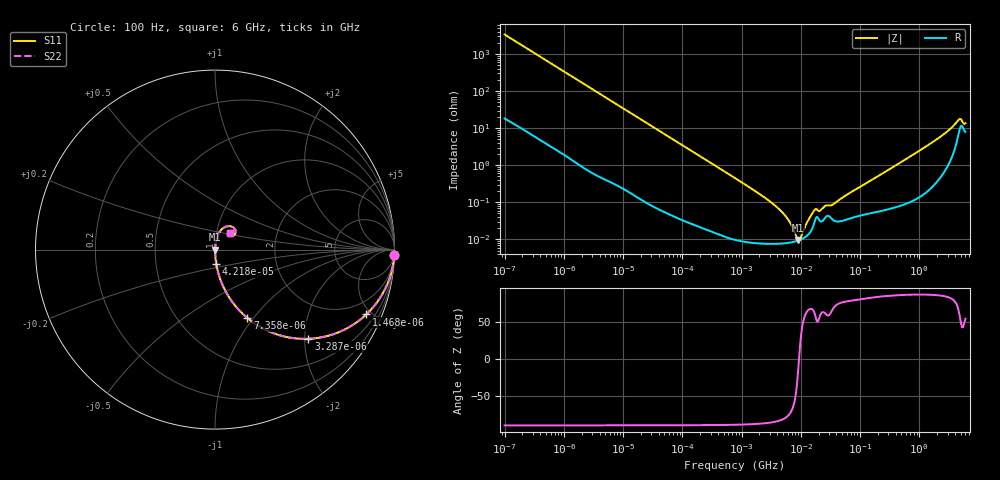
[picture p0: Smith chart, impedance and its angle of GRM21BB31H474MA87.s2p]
!Murata Part Number: GRM21BB31H474MA87
!These Parameters are Measured in Series Mode Connection
!Data Generated on Mar 30, 2021
!  o--ll--o
!Port1  Port2
!  o------o
!Operation Temp=25[degC], DC Bias Voltage=0[V]
!Freq. Start=100[Hz] Stop=6[GHz] 401[Steps]
# Hz S RI R 50
!Freq.(Hz) S11(Real) S11(Imag) S21(Real) S21(Imag) S12(Real) S12(Imag) S22(Real) S22(Imag)
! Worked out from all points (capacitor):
!   401 points, 100 Hz to 6 GHz, reference 50 ohm
!   read as one part in series: C = 469 nF near 109 Hz
!   lowest |Z| = 9.55 mohm at 9.09 MHz (marker M1)
!   series resonance near 9.331 MHz, so ESL is about 620 pH
!   S11 on the Smith chart (normalised r, x): 100 Hz: 1, -68; 1.468 kHz: 1.03, -4.66; 3.287 kHz: 1.01, -2.09; 7.358 kHz: 1.01, -0.93; 42.18 kHz: 1.00, -0.16; 6 GHz: 1.16, +0.22
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100  0.999 -0.0295  0.00103 0.0295  0.00103 0.0295  0.999 -0.0295
438  0.983 -0.1265  0.017 0.1265  0.017 0.1265  0.983 -0.1265
1468  0.843 -0.3611  0.157 0.3611  0.157 0.3611  0.843 -0.3611
2008  0.7427 -0.4345  0.2573 0.4345  0.2573 0.4345  0.7427 -0.4345
3287  0.5208 -0.4968  0.4792 0.4968  0.4792 0.4968  0.5208 -0.4968
7358  0.1807 -0.3815  0.8193 0.3815  0.8193 0.3815  0.1807 -0.3815
14402  0.0556 -0.2257  0.9444 0.2257  0.9444 0.2257  0.0556 -0.2257
40335  0.00793 -0.0851  0.9921 0.0851  0.9921 0.0851  0.00793 -0.0851
42182  0.00729 -0.0814  0.9927 0.0814  0.9927 0.0814  0.00729 -0.0814
774597  0.000117 -0.00451  0.9999 0.00451  0.9999 0.00451  0.000117 -0.00451
4246196  7.65e-05 -0.000662  0.9999 0.000662  0.9999 0.000662  7.65e-05 -0.000662
6075234  8.04e-05 -0.000338  0.9999 0.000338  0.9999 0.000338  8.04e-05 -0.000338
9090158  9.33e-05 -2.02e-05  0.9999 2.02e-05  0.9999 2.02e-05  9.33e-05 -2.02e-05
9941735  9.86e-05 4.98e-05  0.9999 -4.98e-05  0.9999 -4.98e-05  9.86e-05 4.98e-05
1.555665e7  0.000194 0.000458  0.9998 -0.000458  0.9998 -0.000458  0.000194 0.000458
1.779312e7  0.000362 0.00055  0.9996 -0.00055  0.9996 -0.00055  0.000362 0.00055
2.128304e7  0.000307 0.000513  0.9997 -0.000513  0.9997 -0.000513  0.000307 0.000513
3.482834e7  0.000336 0.000805  0.9997 -0.000805  0.9997 -0.000805  0.000336 0.000805
3.124326e8  0.000718 0.00773  0.9993 -0.00773  0.9993 -0.00773  0.000718 0.00773
1.95892e9  0.0059 0.0493  0.9941 -0.0493  0.9941 -0.0493  0.0059 0.0493
4.586474e9  0.0821 0.1313  0.9179 -0.1313  0.9179 -0.1313  0.0821 0.1313
6e9  0.0832 0.0938  0.9168 -0.0938  0.9168 -0.0938  0.0832 0.0938
